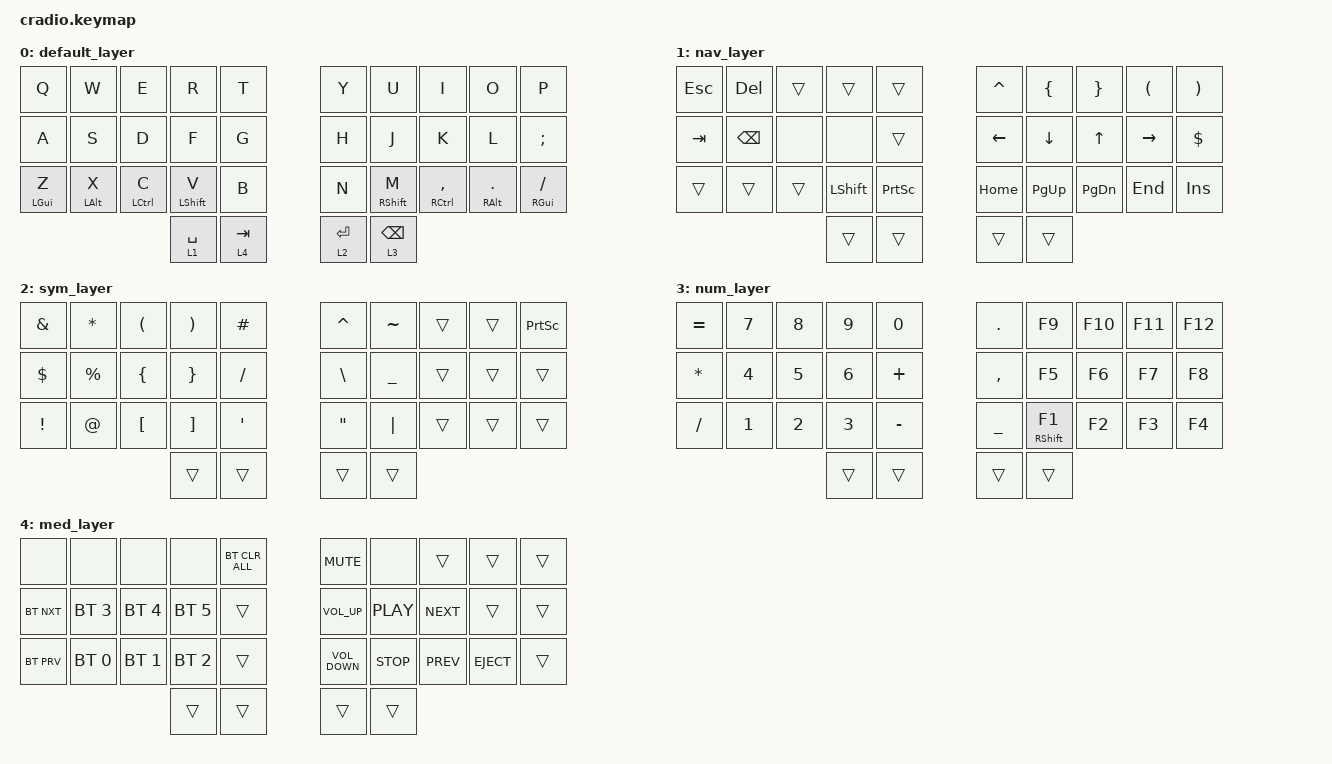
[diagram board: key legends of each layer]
// Copyright (c) 2022 The ZMK Contributors
// SPDX-License-Identifier: MIT

#include <behaviors.dtsi>
#include <dt-bindings/zmk/bt.h>
#include <dt-bindings/zmk/keys.h>

// Home row mods macro
//#define HRML(k1,k2,k3,k4) &ht LSHFT k1  &ht LALT k2  &ht LCTRL k3  &ht LGUI k4

#define HRML(k1,k2,k3,k4) &ht LGUI k1  &ht LALT k2  &ht LCTRL k3  &ht LSHFT k4
#define HRMR(k1,k2,k3,k4) &ht RSHFT k1  &ht RCTRL k2  &ht RALT k3  &ht RGUI k4

//#define HRMR(k1,k2,k3,k4) &ht RGUI k1  &ht RCTRL k2  &ht RALT k3  &ht RSHFT k4

#define DEF 0
#define NAV 1
#define SYM 2
#define NUM 3
#define MED 4

/ {
    behaviors {
        ht: hold_tap {
            compatible = "zmk,behavior-hold-tap";
            #binding-cells = <2>;
            flavor = "tap-preferred";
            tapping-term-ms = <220>;
            quick-tap-ms = <150>;
            require-prior-idle-ms = <100>;
            bindings = <&kp>, <&kp>;
        };
    };

    combos {
        compatible = "zmk,combos";

        combo_esc {
            timeout-ms = <50>;

            // keys: R U

            key-positions = <2 3>;
            bindings = <&kp ESC>;
        };

        combo_minus {
            timeout-ms = <50>;

            // keys: T Y

            key-positions = <4 5>;
            bindings = <&kp MINUS>;
        };

        combo_delete {
            timeout-ms = <50>;

            // keys: V M

            key-positions = <6 7>;
            bindings = <&kp DEL>;
        };

        combo_backspace {
            timeout-ms = <50>;

            // keys: V M

            key-positions = <26 27>;
            bindings = <&kp BSPC>;
        };

        combo_under {
            timeout-ms = <50>;

            // keys: B N

            key-positions = <24 25>;
            bindings = <&kp UNDER>;
        };

        combo_capsw {
            timeout-ms = <50>;

            // keys: E I

            key-positions = <2 7>;
            bindings = <&caps_word>;
        };

        conbo_tab {
            bindings = <&kp TAB>;
            key-positions = <22 23>;
        };
    };

    //    conditional_layers {
    //        compatible = "zmk,conditional-layers";
    //        tri_layer {
    //            if-layers = <1 2 3>;
    //            then-layer = <3>;
    //        };
    //    };

    macros {
        email: email {
            compatible = "zmk,behavior-macro";
            #binding-cells = <0>;
            bindings = <&kp P &kp T &kp R &kp S &kp H &kp O &kp P &kp P &kp I &kp N &kp G &kp AT &kp P &kp R &kp O &kp T &kp O &kp N &kp M &kp A &kp I &kp L &kp DOT &kp C &kp O &kp M>;
            label = "EMAIL";
        };
    };

    keymap {
        compatible = "zmk,keymap";

        /* BSE: Querty
 * ,--------------------------------+      +----------------------------------.
 * | Q  |   W  |   E  |   R  |   T  |      |   Y  |   U  |   I  |   O  |   P  |
 * |----+------+------+------+------+      +-------------+------+------+------|
 * | A  | AL(S)| CT(D)| SH(F)|   G  |      |   H  | SH(J)| CT(K)| AL(L)|   ;  |
 * |----+------+------+------+------+      +------+------+------+------+------|
 * | Z  |   X  |   C  |   V  |   B  |      |   N  |   M  |   ,  |   .  | Gu(/)|
 * '----+------+------+------+------+      +------+------+------+------+------'
 *                    | Space| Tab  |      | Enter| Bsp  |
 *                    `-------------'      '-------------'
 */

        default_layer {
            bindings = <
&kp Q           &kp W           &kp E               &kp R             &kp T        &kp Y        &kp U              &kp I                    &kp O              &kp P
&kp A           &kp S           &kp D               &kp F             &kp G        &kp H        &kp J              &kp K                    &kp L              &kp SEMI
&ht LEFT_GUI Z  &ht LEFT_ALT X  &ht LEFT_CONTROL C  &ht LEFT_SHIFT V  &kp B        &kp N        &ht RIGHT_SHIFT M  &ht RIGHT_CONTROL COMMA  &ht RIGHT_ALT DOT  &ht RGUI FSLH
                                                    &lt 1 SPACE       &lt 4 TAB    &lt 2 ENTER  &lt 3 BSPC
            >;
        };

        /* NAV: Navigation
 * ,--------------------------------+      +----------------------------------.
 * |    |      |      |      |      |      |   ^  |   {  |   }  |   (  |   )  |
 * |----+------+------+------+------+      +-------------+------+------+------|
 * |    |      |      | Shift|      |      | Left | Down | Up   | Right|   $  |
 * |----+------+------+------+------+      +------+------+------+------+------|
 * |    |      |      |      | PrSc |      | Home | PDn  | PUp  | End  | Ins  |
 * '----+------+------+------+------+      +------+------+------+------+------'
 *                    | Space| Tab  |      | Enter| Bsp  |
 *                    `-------------'      '-------------'
 */

        nav_layer {
            bindings = <
&kp ESCAPE  &kp DELETE  &trans  &trans          &trans             &kp CARET  &kp LBRC   &kp RBRC   &kp LPAR   &kp RPAR
&kp TAB     &kp BSPC    &none   &none           &trans             &kp LEFT   &kp DOWN   &kp UP     &kp RIGHT  &kp DLLR
&trans      &trans      &trans  &kp LEFT_SHIFT  &kp PRINTSCREEN    &kp HOME   &kp PG_UP  &kp PG_DN  &kp END    &kp INS
                                &trans          &trans             &trans     &trans
            >;
        };

        /* SYM: Symbols
 * ,--------------------------------+      +----------------------------------.
 * |  & |   *  |   (  |   )  |   #  |      |   ^  |  ~   |      |      |      |
 * |----+------+------+------+------+      +-------------+------+------+------|
 * |  $ |   %  |   {  |   }  |   /  |      |   \  |  _   |      |      |      |
 * |----+------+------+------+------+      +------+------+------+------+------|
 * |  ! |   @  |   [  |   ]  |   '  |      |   "  |  |   |      |      |      |
 * '----+------+------+------+------+      +------+------+------+------+------'
 *                    | Space| Tab  |      | Enter| Bsp  |
 *                    `-------------'      '-------------'
 */

        sym_layer {
            bindings = <
&kp AMPS    &kp STAR     &kp LPAR  &kp RPAR  &kp HASH    &kp CARET  &kp TILDE  &trans  &trans  &kp PSCRN
&kp DOLLAR  &kp PERCENT  &kp LBRC  &kp RBRC  &kp FSLH    &kp BSLH   &kp UNDER  &trans  &trans  &trans
&kp EXCL    &kp AT       &kp LBKT  &kp RBKT  &kp APOS    &kp DQT    &kp PIPE   &trans  &trans  &trans
                                   &trans    &trans      &trans     &trans
            >;
        };

        /* NUM: Numbers
 * ,--------------------------------+      +----------------------------------.
 * |  = |   7  |   8  |   9  |   0  |      |   _  |  F9  | F10  | F11  | F12  |
 * |----+------+------+------+------+      +-------------+------+------+------|
 * |  * |   4  |   5  |   6  |   +  |      |   \  |SH(F5)| F6   | F7   | F8   |
 * |----+------+------+------+------+      +------+------+------+------+------|
 * |  ! |   1  |   x  |   3  |   -  |      |   "  |  F1  | F2   | F3   | F4   |
 * '----+------+------+------+------+      +------+------+------+------+------'
 *                    | Space| Tab  |      | Enter| Bsp  |
 *                    `-------------'      '-------------'
 */

        num_layer {
            bindings = <
&kp EQUAL  &kp N7  &kp N8  &kp N9  &kp N0       &kp DOT    &kp F9              &kp F10  &kp F11  &kp F12
&kp STAR   &kp N4  &kp N5  &kp N6  &kp PLUS     &kp COMMA  &kp F5              &kp F6   &kp F7   &kp F8
&kp FSLH   &kp N1  &kp N2  &kp N3  &kp MINUS    &kp UNDER  &ht RIGHT_SHIFT F1  &kp F2   &kp F3   &kp F4
                           &trans  &trans       &trans     &trans
            >;
        };

        /* MED: Media
 * ,--------------------------------+      +----------------------------------.
 * | Tog|      |      |      |      |      |      |      |      |      |      |
 * |----+------+------+------+------+      +-------------+------+------+------|
 * | Mod| Hue+ | Sa+  | Va+  | Sp+  |      | Mute | Vo-  | Vo+  |      |      |
 * |----+------+------+------+------+      +------+------+------+------+------|
 * | Mod| Hue- | Sa-  | Va-  | Sp-  |      | Pl/Po| Prev | Next |      | Boot |
 * '----+------+------+------+------+      +------+------+------+------+------'
 *                    | Space| Tab  |      | Enter| Bsp  |
 *                    `-------------'      '-------------'
 */

        med_layer {
            bindings = <
&none       &none         &none         &none         &bt BT_CLR_ALL    &kp K_MUTE         &none       &trans      &trans       &trans
&bt BT_NXT  &bt BT_SEL 3  &bt BT_SEL 4  &bt BT_SEL 5  &trans            &kp C_VOLUME_UP    &kp C_PLAY  &kp C_NEXT  &trans       &trans
&bt BT_PRV  &bt BT_SEL 0  &bt BT_SEL 1  &bt BT_SEL 2  &trans            &kp C_VOLUME_DOWN  &kp C_STOP  &kp C_PREV  &kp C_EJECT  &trans
                                        &trans        &trans            &trans             &trans
            >;
        };
    };
};
